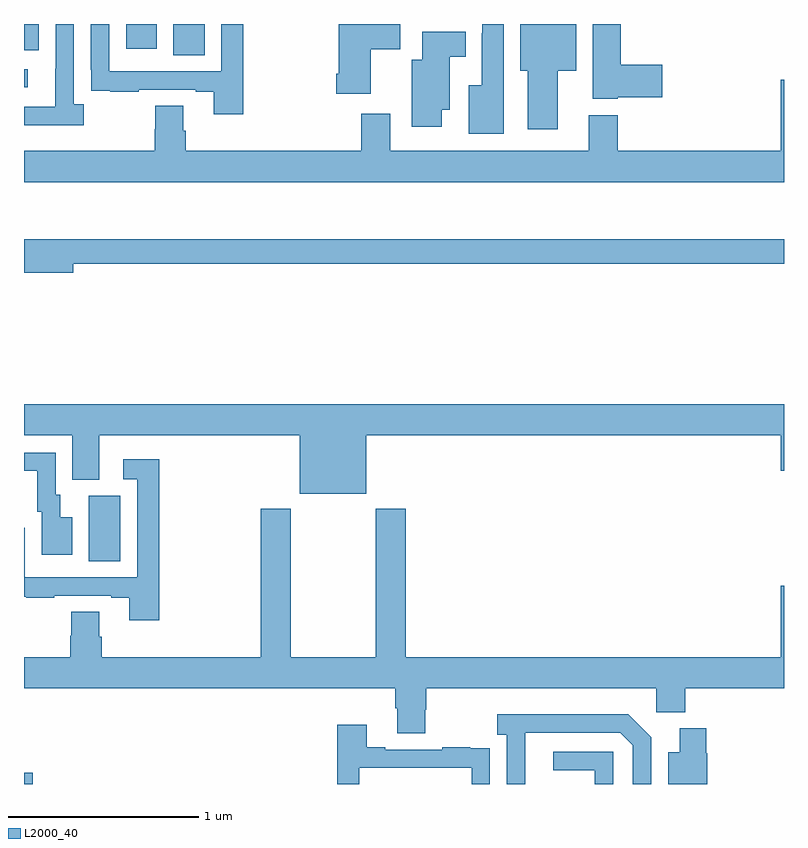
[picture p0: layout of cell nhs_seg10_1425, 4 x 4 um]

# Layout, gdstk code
import gdstk
lib = gdstk.Library(unit=1e-6, precision=1e-09)
def R(c, l, rs):  # rectangles x0, y0, x1, y1
    for r in rs: c.add(gdstk.rectangle(r[:2], r[2:], *l))
def P(c, l, *ps):  # polygons
    for p in ps: c.add(gdstk.Polygon(p, *l))
L2000_40 = (2000, 40)

nhs_seg10_1425 = lib.new_cell('nhs_seg10_1425')
R(nhs_seg10_1425, L2000_40, [(185,1278.5,185.047,1278.558), (185.342,1279.672,185.506,1280.016), (185,1282.167,185.02,1282.263), (185.786,1282.336,185.95,1282.5), (185,1282.361,185.077,1282.5), (185.537,1282.371,185.698,1282.5)])
P(nhs_seg10_1425, L2000_40, [(185.314,1282.078),(185.262,1282.078),(185.262,1282.5),(185.166,1282.5),(185.166,1282.265),(185.165,1282.265),(185.165,1282.065),(185,1282.065),(185,1281.968),(185.314,1281.968)],
  [(186.155,1282.5),(186.039,1282.5),(186.039,1282.251),(185.448,1282.251),(185.448,1282.5),(185.352,1282.5),(185.352,1282.258),(185.353,1282.258),(185.353,1282.149),(185.455,1282.149),(185.455,1282.143),(185.603,1282.143),(185.603,1282.155),(185.903,1282.155),(185.903,1282.143),(185.999,1282.143),(185.999,1282.026),(186.155,1282.026)],
  [(187.81,1282.253),(187.906,1282.253),(187.906,1282.5),(187.613,1282.5),(187.613,1282.253),(187.652,1282.253),(187.652,1281.945),(187.81,1281.945)],
  [(187.525,1282.5),(187.413,1282.5),(187.413,1282.451),(187.409,1282.451),(187.409,1282.177),(187.34,1282.177),(187.34,1281.923),(187.525,1281.923)],
  [(188.124,1282.115),(188.359,1282.115),(188.359,1282.286),(188.141,1282.286),(188.141,1282.5),(187.994,1282.5),(187.994,1282.106),(188.124,1282.106)],
  [(186.826,1282.366),(186.979,1282.366),(186.979,1282.5),(186.656,1282.5),(186.656,1282.237),(186.644,1282.237),(186.644,1282.133),(186.826,1282.133)],
  [(187.198,1282.049),(187.24,1282.049),(187.24,1282.328),(187.324,1282.328),(187.324,1282.459),(187.097,1282.459),(187.097,1282.312),(187.04,1282.312),(187.04,1281.96),(187.198,1281.96)],
  [(189,1282.207),(188.984,1282.207),(188.984,1281.832),(188.126,1281.832),(188.126,1282.021),(187.973,1282.021),(187.973,1281.832),(186.928,1281.832),(186.928,1282.027),(186.776,1282.027),(186.776,1281.832),(185.852,1281.832),(185.852,1281.938),(185.839,1281.938),(185.839,1282.07),(185.692,1282.07),(185.692,1281.945),(185.687,1281.945),(185.687,1281.832),(185,1281.832),(185,1281.668),(189,1281.668)],
  [(185.26,1281.238),(189,1281.238),(189,1281.367),(185,1281.367),(185,1281.191),(185.26,1281.191)],
  [(186.802,1280.336),(188.984,1280.336),(188.984,1280.148),(189,1280.148),(189,1280.5),(185,1280.5),(185,1280.336),(185.255,1280.336),(185.255,1280.101),(185.395,1280.101),(185.395,1280.336),(186.452,1280.336),(186.452,1280.027),(186.802,1280.027)],
  [(185.254,1279.903),(185.191,1279.903),(185.191,1280.022),(185.166,1280.022),(185.166,1280.244),(185,1280.244),(185,1280.148),(185.069,1280.148),(185.069,1279.932),(185.093,1279.932),(185.093,1279.707),(185.254,1279.707)],
  [(185.711,1280.209),(185.523,1280.209),(185.523,1280.103),(185.595,1280.103),(185.595,1279.587),(185.004,1279.587),(185.004,1279.849),(185,1279.849),(185,1279.485),(185.011,1279.485),(185.011,1279.479),(185.159,1279.479),(185.159,1279.491),(185.459,1279.491),(185.459,1279.479),(185.555,1279.479),(185.555,1279.362),(185.711,1279.362)],
  [(187.113,1278.891),(187.118,1278.891),(187.118,1279.004),(188.328,1279.004),(188.328,1278.878),(188.48,1278.878),(188.48,1279.004),(189,1279.004),(189,1279.543),(188.984,1279.543),(188.984,1279.168),(187.01,1279.168),(187.01,1279.948),(186.85,1279.948),(186.85,1279.168),(186.405,1279.168),(186.405,1279.948),(186.245,1279.948),(186.245,1279.168),(185.408,1279.168),(185.408,1279.274),(185.395,1279.274),(185.395,1279.406),(185.248,1279.406),(185.248,1279.281),(185.243,1279.281),(185.243,1279.168),(185,1279.168),(185,1279.004),(186.953,1279.004),(186.953,1278.898),(186.965,1278.898),(186.965,1278.766),(187.113,1278.766)],
  [(187.638,1278.771),(188.139,1278.771),(188.205,1278.705),(188.205,1278.5),(188.301,1278.5),(188.301,1278.747),(188.18,1278.868),(187.491,1278.868),(187.491,1278.758),(187.542,1278.758),(187.542,1278.5),(187.638,1278.5)],
  [(186.765,1278.585),(187.356,1278.585),(187.356,1278.5),(187.452,1278.5),(187.452,1278.578),(187.451,1278.578),(187.451,1278.687),(187.349,1278.687),(187.349,1278.694),(187.201,1278.694),(187.201,1278.681),(186.901,1278.681),(186.901,1278.694),(186.805,1278.694),(186.805,1278.811),(186.649,1278.811),(186.649,1278.5),(186.765,1278.5)],
  [(188.597,1278.663),(188.591,1278.663),(188.591,1278.793),(188.45,1278.793),(188.45,1278.667),(188.39,1278.667),(188.39,1278.5),(188.597,1278.5)],
  [(188.1,1278.669),(187.785,1278.669),(187.785,1278.573),(188.004,1278.573),(188.004,1278.5),(188.1,1278.5)])

lib.write_gds('nhs_seg10_1425.gds')
